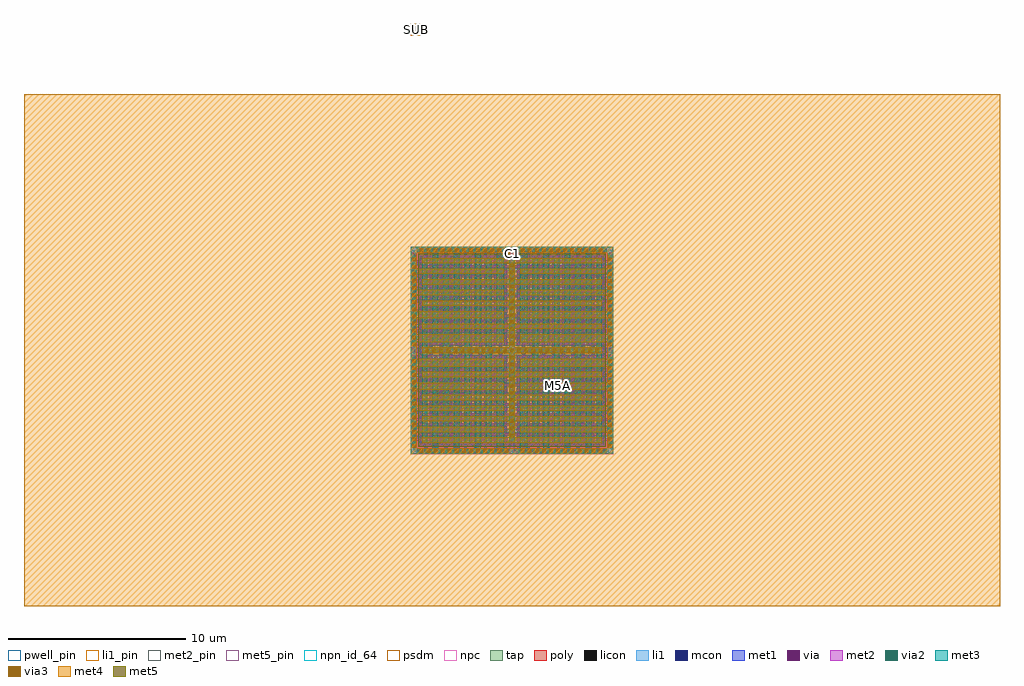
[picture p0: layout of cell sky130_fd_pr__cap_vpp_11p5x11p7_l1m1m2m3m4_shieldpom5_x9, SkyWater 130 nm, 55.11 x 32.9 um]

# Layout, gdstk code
import gdstk
lib = gdstk.Library(unit=1e-6, precision=1e-09)
def R(c, l, rs):  # rectangles x0, y0, x1, y1
    for r in rs: c.add(gdstk.rectangle(r[:2], r[2:], *l))
def A(c, l, x, y, w, h, nx, ny, dx, dy):  # array of equal rectangles
    R(c, l, [(x+i*dx, y+j*dy, x+i*dx+w, y+j*dy+h) for i in range(nx) for j in range(ny)])
def P(c, l, *ps):  # polygons
    for p in ps: c.add(gdstk.Polygon(p, *l))
tap = (65, 44)
poly = (66, 20)
licon = (66, 44)
li1_pin = (67, 16)
li1 = (67, 20)
mcon = (67, 44)
met1 = (68, 20)
via = (68, 44)
met2_pin = (69, 16)
met2 = (69, 20)
via2 = (69, 44)
met3 = (70, 20)
via3 = (70, 44)
met4 = (71, 20)
met5_pin = (72, 16)
met5 = (72, 20)
npn_id_64 = (82, 64)
psdm = (94, 20)
npc = (95, 20)
pwell_pin = (122, 16)

sky130_fd_pr__cap_vpp_11 = lib.new_cell('sky130_fd_pr__cap_vpp_11p5x11p7_l1m1m2m3m4_shieldpom5_x')
R(sky130_fd_pr__cap_vpp_11, poly, [(0,0,5.84,6.005), (5.57,0,11.41,6.005), (0,5.685,5.84,11.69), (5.57,5.685,11.41,11.69)])
A(sky130_fd_pr__cap_vpp_11, licon, 0.485, 0.08, 0.17, 0.17, 15, 2, 0.34, 11.36)
A(sky130_fd_pr__cap_vpp_11, licon, 5.995, 0.08, 0.17, 0.17, 15, 2, 0.34, 11.36)
A(sky130_fd_pr__cap_vpp_11, licon, 0.08, 0.32, 0.17, 0.17, 1, 33, 0, 0.34)
A(sky130_fd_pr__cap_vpp_11, licon, 11.16, 0.32, 0.17, 0.17, 1, 33, 0, 0.34)
A(sky130_fd_pr__cap_vpp_11, li1, 0.5, 0.5, 5.07, 0.19, 1, 9, 0, 0.7)
A(sky130_fd_pr__cap_vpp_11, li1, 5.835, 0.5, 5.07, 0.19, 1, 16, 0, 0.7)
A(sky130_fd_pr__cap_vpp_11, li1, 0.33, 0.86, 5.07, 0.17, 1, 9, 0, 0.7)
A(sky130_fd_pr__cap_vpp_11, li1, 6.01, 0.86, 5.07, 0.17, 1, 15, 0, 0.7)
A(sky130_fd_pr__cap_vpp_11, li1, 0.5, 7.5, 5.07, 0.19, 1, 6, 0, 0.7)
A(sky130_fd_pr__cap_vpp_11, li1, 0.33, 7.86, 5.07, 0.17, 1, 5, 0, 0.7)
R(sky130_fd_pr__cap_vpp_11, li1, [(0,0,0.33,6.005), (0.33,0,5.84,0.33), (5.57,0,11.08,0.33), (11.08,0,11.41,6.005), (5.57,0.5,5.84,5.58), (5.57,5.58,5.84,11.19), (0,5.685,0.33,11.69), (11.08,5.685,11.41,11.69), (0.5,6.8,5.57,6.98), (0.33,7.15,5.4,7.33), (0.33,11.36,5.84,11.69), (5.57,11.36,11.08,11.69)])
A(sky130_fd_pr__cap_vpp_11, mcon, 0.4, 0.08, 0.17, 0.17, 30, 2, 0.36, 11.36)
A(sky130_fd_pr__cap_vpp_11, mcon, 0.08, 0.58, 0.17, 0.17, 1, 14, 0, 0.36)
A(sky130_fd_pr__cap_vpp_11, mcon, 11.16, 0.58, 0.17, 0.17, 1, 14, 0, 0.36)
A(sky130_fd_pr__cap_vpp_11, mcon, 5.62, 0.59, 0.17, 0.17, 1, 14, 0, 0.36)
A(sky130_fd_pr__cap_vpp_11, mcon, 5.62, 6.25, 0.17, 0.17, 1, 14, 0, 0.36)
A(sky130_fd_pr__cap_vpp_11, mcon, 0.08, 6.26, 0.17, 0.17, 1, 14, 0, 0.36)
A(sky130_fd_pr__cap_vpp_11, mcon, 11.16, 6.26, 0.17, 0.17, 1, 14, 0, 0.36)
A(sky130_fd_pr__cap_vpp_11, met1, 0.78, 0.33, 0.14, 5.215, 9, 2, 0.56, 5.815)
A(sky130_fd_pr__cap_vpp_11, met1, 6.01, 0.33, 0.14, 5.215, 9, 2, 0.56, 5.815)
A(sky130_fd_pr__cap_vpp_11, met1, 0.5, 0.47, 0.14, 5.215, 9, 2, 0.56, 5.535)
A(sky130_fd_pr__cap_vpp_11, met1, 6.29, 0.47, 0.14, 5.215, 9, 2, 0.56, 5.535)
R(sky130_fd_pr__cap_vpp_11, met1, [(0,0,5.84,0.33), (5.57,0,11.41,0.33), (0,0.33,0.33,5.55), (11.08,0.33,11.41,5.545), (5.57,0.47,5.84,5.685), (11.08,5.545,11.41,6.145), (0,5.55,0.33,6.145), (0.5,5.685,5.84,6.005), (5.57,5.685,10.91,6.005), (5.57,6.005,5.84,11.22), (0,6.145,0.33,11.36), (11.08,6.145,11.41,11.36), (0,11.36,5.84,11.69), (5.57,11.36,11.41,11.69)])
A(sky130_fd_pr__cap_vpp_11, via, 4.015, 0.09, 0.15, 0.15, 1, 3, 0, 5.68)
A(sky130_fd_pr__cap_vpp_11, via, 7.245, 0.09, 0.15, 0.15, 1, 3, 0, 5.68)
A(sky130_fd_pr__cap_vpp_11, via, 0.09, 0.335, 0.15, 0.15, 1, 16, 0, 0.32)
A(sky130_fd_pr__cap_vpp_11, via, 11.17, 0.335, 0.15, 0.15, 1, 16, 0, 0.32)
A(sky130_fd_pr__cap_vpp_11, via, 5.63, 0.56, 0.15, 0.15, 1, 16, 0, 0.32)
A(sky130_fd_pr__cap_vpp_11, via, 0.815, 5.77, 0.15, 0.15, 11, 1, 0.32, 0)
A(sky130_fd_pr__cap_vpp_11, via, 7.245, 5.77, 0.15, 0.15, 11, 1, 0.32, 0)
A(sky130_fd_pr__cap_vpp_11, via, 5.63, 6.18, 0.15, 0.15, 1, 16, 0, 0.32)
A(sky130_fd_pr__cap_vpp_11, via, 0.09, 6.405, 0.15, 0.15, 1, 16, 0, 0.32)
A(sky130_fd_pr__cap_vpp_11, via, 11.17, 6.405, 0.15, 0.15, 1, 16, 0, 0.32)
R(sky130_fd_pr__cap_vpp_11, via, [(0.495,0.09,0.645,0.24), (0.495,0.09,0.645,0.24), (0.815,0.09,0.965,0.24), (0.815,0.09,0.965,0.24), (1.135,0.09,1.285,0.24), (1.135,0.09,1.285,0.24), (1.455,0.09,1.605,0.24), (1.455,0.09,1.605,0.24), (1.775,0.09,1.925,0.24), (1.775,0.09,1.925,0.24), (2.095,0.09,2.245,0.24), (2.095,0.09,2.245,0.24), (2.415,0.09,2.565,0.24), (2.415,0.09,2.565,0.24), (2.735,0.09,2.885,0.24), (2.735,0.09,2.885,0.24), (3.055,0.09,3.205,0.24), (3.055,0.09,3.205,0.24), (3.375,0.09,3.525,0.24), (3.375,0.09,3.525,0.24), (3.695,0.09,3.845,0.24), (3.695,0.09,3.845,0.24), (4.015,0.09,4.165,0.24), (4.335,0.09,4.485,0.24), (4.335,0.09,4.485,0.24), (4.655,0.09,4.805,0.24), (4.655,0.09,4.805,0.24), (4.975,0.09,5.125,0.24), (4.975,0.09,5.125,0.24), (6.285,0.09,6.435,0.24), (6.285,0.09,6.435,0.24), (6.605,0.09,6.755,0.24), (6.605,0.09,6.755,0.24), (6.925,0.09,7.075,0.24), (6.925,0.09,7.075,0.24), (7.245,0.09,7.395,0.24), (7.565,0.09,7.715,0.24), (7.565,0.09,7.715,0.24), (7.885,0.09,8.035,0.24), (7.885,0.09,8.035,0.24), (8.205,0.09,8.355,0.24), (8.205,0.09,8.355,0.24), (8.525,0.09,8.675,0.24), (8.525,0.09,8.675,0.24), (8.845,0.09,8.995,0.24), (8.845,0.09,8.995,0.24), (9.165,0.09,9.315,0.24), (9.165,0.09,9.315,0.24), (9.485,0.09,9.635,0.24), (9.485,0.09,9.635,0.24), (9.805,0.09,9.955,0.24), (9.805,0.09,9.955,0.24), (10.125,0.09,10.275,0.24), (10.125,0.09,10.275,0.24), (10.445,0.09,10.595,0.24), (10.445,0.09,10.595,0.24), (10.765,0.09,10.915,0.24), (10.765,0.09,10.915,0.24), (4.335,5.77,4.485,5.92), (4.335,5.77,4.485,5.92), (4.655,5.77,4.805,5.92), (4.655,5.77,4.805,5.92), (4.975,5.77,5.125,5.92), (4.975,5.77,5.125,5.92), (5.295,5.77,5.445,5.92), (5.295,5.77,5.445,5.92), (5.965,5.77,6.115,5.92), (5.965,5.77,6.115,5.92), (6.285,5.77,6.435,5.92), (6.285,5.77,6.435,5.92), (6.605,5.77,6.755,5.92), (6.605,5.77,6.755,5.92), (6.925,5.77,7.075,5.92), (6.925,5.77,7.075,5.92), (0.495,11.45,0.645,11.6), (0.495,11.45,0.645,11.6), (0.815,11.45,0.965,11.6), (0.815,11.45,0.965,11.6), (1.135,11.45,1.285,11.6), (1.135,11.45,1.285,11.6), (1.455,11.45,1.605,11.6), (1.455,11.45,1.605,11.6), (1.775,11.45,1.925,11.6), (1.775,11.45,1.925,11.6), (2.095,11.45,2.245,11.6), (2.095,11.45,2.245,11.6), (2.415,11.45,2.565,11.6), (2.415,11.45,2.565,11.6), (2.735,11.45,2.885,11.6), (2.735,11.45,2.885,11.6), (3.055,11.45,3.205,11.6), (3.055,11.45,3.205,11.6), (3.375,11.45,3.525,11.6), (3.375,11.45,3.525,11.6), (3.695,11.45,3.845,11.6), (3.695,11.45,3.845,11.6), (4.015,11.45,4.165,11.6), (4.335,11.45,4.485,11.6), (4.335,11.45,4.485,11.6), (4.655,11.45,4.805,11.6), (4.655,11.45,4.805,11.6), (4.975,11.45,5.125,11.6), (4.975,11.45,5.125,11.6), (6.285,11.45,6.435,11.6), (6.285,11.45,6.435,11.6), (6.605,11.45,6.755,11.6), (6.605,11.45,6.755,11.6), (6.925,11.45,7.075,11.6), (6.925,11.45,7.075,11.6), (7.245,11.45,7.395,11.6), (7.565,11.45,7.715,11.6), (7.565,11.45,7.715,11.6), (7.885,11.45,8.035,11.6), (7.885,11.45,8.035,11.6), (8.205,11.45,8.355,11.6), (8.205,11.45,8.355,11.6), (8.525,11.45,8.675,11.6), (8.525,11.45,8.675,11.6), (8.845,11.45,8.995,11.6), (8.845,11.45,8.995,11.6), (9.165,11.45,9.315,11.6), (9.165,11.45,9.315,11.6), (9.485,11.45,9.635,11.6), (9.485,11.45,9.635,11.6), (9.805,11.45,9.955,11.6), (9.805,11.45,9.955,11.6), (10.125,11.45,10.275,11.6), (10.125,11.45,10.275,11.6), (10.445,11.45,10.595,11.6), (10.445,11.45,10.595,11.6), (10.765,11.45,10.915,11.6), (10.765,11.45,10.915,11.6)])
R(sky130_fd_pr__cap_vpp_11, met2_pin, [(5.605,11.31,5.815,11.49), (5.095,11.37,5.245,11.51)])
P(sky130_fd_pr__cap_vpp_11, met2, [(11.41,5.57),(11.08,5.57),(11.08,5.565),(5.985,5.565),(5.985,5.23),(11.08,5.23),(11.08,4.81),(5.985,4.81),(5.985,4.67),(11.08,4.67),(11.08,4.25),(5.985,4.25),(5.985,4.11),(11.08,4.11),(11.08,3.69),(5.985,3.69),(5.985,3.55),(11.08,3.55),(11.08,3.13),(5.985,3.13),(5.985,2.99),(11.08,2.99),(11.08,2.57),(5.985,2.57),(5.985,2.43),(11.08,2.43),(11.08,2.01),(5.985,2.01),(5.985,1.87),(11.08,1.87),(11.08,1.45),(5.985,1.45),(5.985,1.31),(11.08,1.31),(11.08,0.89),(5.985,0.89),(5.985,0.75),(11.08,0.75),(11.08,0.33),(5.98,0.33),(5.98,0),(11.41,0)],
  [(11.41,5.98),(11.04,5.98),(11.04,5.985),(5.845,5.985),(5.845,6.6),(10.94,6.6),(10.94,6.74),(5.845,6.74),(5.845,7.16),(10.94,7.16),(10.94,7.3),(5.845,7.3),(5.845,7.72),(10.94,7.72),(10.94,7.86),(5.845,7.86),(5.845,8.28),(10.94,8.28),(10.94,8.42),(5.845,8.42),(5.845,8.84),(10.94,8.84),(10.94,8.98),(5.845,8.98),(5.845,9.4),(10.94,9.4),(10.94,9.54),(5.845,9.54),(5.845,9.96),(10.94,9.96),(10.94,10.1),(5.845,10.1),(5.845,10.52),(10.94,10.52),(10.94,10.66),(5.845,10.66),(5.845,11.08),(10.94,11.08),(10.94,11.22),(5.84,11.22),(5.84,11.69),(5.57,11.69),(5.57,11.22),(0.47,11.22),(0.47,11.08),(5.565,11.08),(5.565,10.66),(0.47,10.66),(0.47,10.52),(5.565,10.52),(5.565,10.1),(0.47,10.1),(0.47,9.96),(5.565,9.96),(5.565,9.54),(0.47,9.54),(0.47,9.4),(5.565,9.4),(5.565,8.98),(0.47,8.98),(0.47,8.84),(5.565,8.84),(5.565,8.42),(0.47,8.42),(0.47,8.28),(5.565,8.28),(5.565,7.86),(0.47,7.86),(0.47,7.72),(5.565,7.72),(5.565,7.3),(0.47,7.3),(0.47,7.16),(5.565,7.16),(5.565,6.74),(0.47,6.74),(0.47,6.6),(5.565,6.6),(5.565,5.985),(0.37,5.985),(0.37,5.98),(0,5.98),(0,5.71),(0.37,5.71),(0.37,5.705),(5.565,5.705),(5.565,5.09),(0.47,5.09),(0.47,4.95),(5.565,4.95),(5.565,4.53),(0.47,4.53),(0.47,4.39),(5.565,4.39),(5.565,3.97),(0.47,3.97),(0.47,3.83),(5.565,3.83),(5.565,3.41),(0.47,3.41),(0.47,3.27),(5.565,3.27),(5.565,2.85),(0.47,2.85),(0.47,2.71),(5.565,2.71),(5.565,2.29),(0.47,2.29),(0.47,2.15),(5.565,2.15),(5.565,1.73),(0.47,1.73),(0.47,1.59),(5.565,1.59),(5.565,1.17),(0.47,1.17),(0.47,1.03),(5.565,1.03),(5.565,0.61),(0.47,0.61),(0.47,0.47),(5.57,0.47),(5.57,0),(5.84,0),(5.84,0.47),(10.94,0.47),(10.94,0.61),(5.845,0.61),(5.845,1.03),(10.94,1.03),(10.94,1.17),(5.845,1.17),(5.845,1.59),(10.94,1.59),(10.94,1.73),(5.845,1.73),(5.845,2.15),(10.94,2.15),(10.94,2.29),(5.845,2.29),(5.845,2.71),(10.94,2.71),(10.94,2.85),(5.845,2.85),(5.845,3.27),(10.94,3.27),(10.94,3.41),(5.845,3.41),(5.845,3.83),(10.94,3.83),(10.94,3.97),(5.845,3.97),(5.845,4.39),(10.94,4.39),(10.94,4.53),(5.845,4.53),(5.845,4.95),(10.94,4.95),(10.94,5.09),(5.845,5.09),(5.845,5.705),(11.04,5.705),(11.04,5.71),(11.41,5.71)],
  [(11.41,11.69),(5.98,11.69),(5.98,11.36),(11.08,11.36),(11.08,10.94),(5.985,10.94),(5.985,10.8),(11.08,10.8),(11.08,10.38),(5.985,10.38),(5.985,10.24),(11.08,10.24),(11.08,9.82),(5.985,9.82),(5.985,9.68),(11.08,9.68),(11.08,9.26),(5.985,9.26),(5.985,9.12),(11.08,9.12),(11.08,8.7),(5.985,8.7),(5.985,8.56),(11.08,8.56),(11.08,8.14),(5.985,8.14),(5.985,8),(11.08,8),(11.08,7.58),(5.985,7.58),(5.985,7.44),(11.08,7.44),(11.08,7.02),(5.985,7.02),(5.985,6.88),(11.08,6.88),(11.08,6.46),(5.985,6.46),(5.985,6.125),(11.08,6.125),(11.08,6.12),(11.41,6.12)],
  [(5.43,0.33),(0.33,0.33),(0.33,0.75),(5.425,0.75),(5.425,0.89),(0.33,0.89),(0.33,1.31),(5.425,1.31),(5.425,1.45),(0.33,1.45),(0.33,1.87),(5.425,1.87),(5.425,2.01),(0.33,2.01),(0.33,2.43),(5.425,2.43),(5.425,2.57),(0.33,2.57),(0.33,2.99),(5.425,2.99),(5.425,3.13),(0.33,3.13),(0.33,3.55),(5.425,3.55),(5.425,3.69),(0.33,3.69),(0.33,4.11),(5.425,4.11),(5.425,4.25),(0.33,4.25),(0.33,4.67),(5.425,4.67),(5.425,4.81),(0.33,4.81),(0.33,5.23),(5.425,5.23),(5.425,5.565),(0.33,5.565),(0.33,5.57),(0,5.57),(0,0),(5.43,0)],
  [(5.43,11.69),(0,11.69),(0,6.12),(0.33,6.12),(0.33,6.125),(5.425,6.125),(5.425,6.46),(0.33,6.46),(0.33,6.88),(5.425,6.88),(5.425,7.02),(0.33,7.02),(0.33,7.44),(5.425,7.44),(5.425,7.58),(0.33,7.58),(0.33,8),(5.425,8),(5.425,8.14),(0.33,8.14),(0.33,8.56),(5.425,8.56),(5.425,8.7),(0.33,8.7),(0.33,9.12),(5.425,9.12),(5.425,9.26),(0.33,9.26),(0.33,9.68),(5.425,9.68),(5.425,9.82),(0.33,9.82),(0.33,10.24),(5.425,10.24),(5.425,10.38),(0.33,10.38),(0.33,10.8),(5.425,10.8),(5.425,10.94),(0.33,10.94),(0.33,11.36),(5.43,11.36)])
A(sky130_fd_pr__cap_vpp_11, via2, 0.345, 0.065, 0.2, 0.2, 13, 2, 0.4, 11.36)
A(sky130_fd_pr__cap_vpp_11, via2, 6.065, 0.065, 0.2, 0.2, 13, 2, 0.4, 11.36)
A(sky130_fd_pr__cap_vpp_11, via2, 0.065, 0.485, 0.2, 0.2, 1, 13, 0, 0.4)
A(sky130_fd_pr__cap_vpp_11, via2, 11.145, 0.485, 0.2, 0.2, 1, 13, 0, 0.4)
A(sky130_fd_pr__cap_vpp_11, via2, 5.605, 0.945, 0.2, 0.2, 1, 13, 0, 0.4)
A(sky130_fd_pr__cap_vpp_11, via2, 0.805, 5.745, 0.2, 0.2, 13, 1, 0.4, 0)
A(sky130_fd_pr__cap_vpp_11, via2, 5.605, 5.745, 0.2, 0.2, 1, 13, 0, 0.4)
A(sky130_fd_pr__cap_vpp_11, via2, 5.605, 5.745, 0.2, 0.2, 13, 1, 0.4, 0)
A(sky130_fd_pr__cap_vpp_11, via2, 0.065, 6.205, 0.2, 0.2, 1, 13, 0, 0.4)
A(sky130_fd_pr__cap_vpp_11, via2, 11.145, 6.205, 0.2, 0.2, 1, 13, 0, 0.4)
P(sky130_fd_pr__cap_vpp_11, met3, [(11.41,11.69),(11.08,11.69),(11.08,0.33),(10.18,0.33),(10.18,5.38),(9.88,5.38),(9.88,0.33),(8.98,0.33),(8.98,5.38),(8.68,5.38),(8.68,0.33),(7.78,0.33),(7.78,5.38),(7.48,5.38),(7.48,0.33),(6.58,0.33),(6.58,5.38),(6.17,5.38),(6.17,0.33),(5.24,0.33),(5.24,5.38),(4.83,5.38),(4.83,0.33),(3.93,0.33),(3.93,5.38),(3.63,5.38),(3.63,0.33),(2.73,0.33),(2.73,5.38),(2.43,5.38),(2.43,0.33),(1.53,0.33),(1.53,5.38),(1.23,5.38),(1.23,0.33),(0.33,0.33),(0.33,11.36),(1.23,11.36),(1.23,6.31),(1.53,6.31),(1.53,11.36),(2.43,11.36),(2.43,6.31),(2.73,6.31),(2.73,11.36),(3.63,11.36),(3.63,6.31),(3.93,6.31),(3.93,11.36),(4.83,11.36),(4.83,6.31),(5.24,6.31),(5.24,11.36),(6.17,11.36),(6.17,6.31),(6.58,6.31),(6.58,11.36),(7.48,11.36),(7.48,6.31),(7.78,6.31),(7.78,11.36),(8.68,11.36),(8.68,6.31),(8.98,6.31),(8.98,11.36),(9.88,11.36),(9.88,6.31),(10.18,6.31),(10.18,11.36),(11.08,11.36),(11.08,11.69),(0,11.69),(0,0),(11.41,0)],
  [(10.78,11.06),(10.48,11.06),(10.48,6.01),(9.58,6.01),(9.58,11.06),(9.28,11.06),(9.28,6.01),(8.38,6.01),(8.38,11.06),(8.08,11.06),(8.08,6.01),(7.18,6.01),(7.18,11.06),(6.88,11.06),(6.88,6.01),(5.87,6.01),(5.87,11.06),(5.54,11.06),(5.54,6.01),(4.53,6.01),(4.53,11.06),(4.23,11.06),(4.23,6.01),(3.33,6.01),(3.33,11.06),(3.03,11.06),(3.03,6.01),(2.13,6.01),(2.13,11.06),(1.83,11.06),(1.83,6.01),(0.93,6.01),(0.93,11.06),(0.63,11.06),(0.63,0.63),(0.93,0.63),(0.93,5.68),(1.83,5.68),(1.83,0.63),(2.13,0.63),(2.13,5.68),(3.03,5.68),(3.03,0.63),(3.33,0.63),(3.33,5.68),(4.23,5.68),(4.23,0.63),(4.53,0.63),(4.53,5.68),(5.54,5.68),(5.54,0.63),(5.87,0.63),(5.87,5.68),(6.88,5.68),(6.88,0.63),(7.18,0.63),(7.18,5.68),(8.08,5.68),(8.08,0.63),(8.38,0.63),(8.38,5.68),(9.28,5.68),(9.28,0.63),(9.58,0.63),(9.58,5.68),(10.48,5.68),(10.48,0.63),(10.78,0.63)])
A(sky130_fd_pr__cap_vpp_11, via3, 0.485, 0.065, 0.2, 0.2, 13, 2, 0.4, 11.36)
A(sky130_fd_pr__cap_vpp_11, via3, 6.205, 0.065, 0.2, 0.2, 12, 2, 0.4, 11.36)
A(sky130_fd_pr__cap_vpp_11, via3, 0.065, 0.345, 0.2, 0.2, 1, 13, 0, 0.4)
A(sky130_fd_pr__cap_vpp_11, via3, 11.145, 0.345, 0.2, 0.2, 1, 13, 0, 0.4)
A(sky130_fd_pr__cap_vpp_11, via3, 5.605, 0.945, 0.2, 0.2, 1, 13, 0, 0.4)
A(sky130_fd_pr__cap_vpp_11, via3, 0.805, 5.745, 0.2, 0.2, 13, 1, 0.4, 0)
A(sky130_fd_pr__cap_vpp_11, via3, 5.605, 5.745, 0.2, 0.2, 1, 13, 0, 0.4)
A(sky130_fd_pr__cap_vpp_11, via3, 5.605, 5.745, 0.2, 0.2, 13, 1, 0.4, 0)
A(sky130_fd_pr__cap_vpp_11, via3, 0.065, 6.065, 0.2, 0.2, 1, 13, 0, 0.4)
A(sky130_fd_pr__cap_vpp_11, via3, 11.145, 6.065, 0.2, 0.2, 1, 13, 0, 0.4)
P(sky130_fd_pr__cap_vpp_11, met4, [(0.63,11.06),(0.63,10.76),(5.54,10.76),(5.54,9.86),(0.63,9.86),(0.63,9.56),(5.54,9.56),(5.54,8.66),(0.63,8.66),(0.63,8.36),(5.54,8.36),(5.54,7.36),(0.63,7.36),(0.63,7.06),(5.54,7.06),(5.54,6.01),(0.63,6.01),(0.63,5.68),(5.54,5.68),(5.54,4.63),(0.63,4.63),(0.63,4.33),(5.54,4.33),(5.54,3.33),(0.63,3.33),(0.63,3.03),(5.54,3.03),(5.54,2.13),(0.63,2.13),(0.63,1.83),(5.54,1.83),(5.54,0.93),(0.63,0.93),(0.63,0.63),(10.78,0.63),(10.78,0.93),(5.87,0.93),(5.87,1.83),(10.78,1.83),(10.78,2.13),(5.87,2.13),(5.87,3.03),(10.78,3.03),(10.78,3.33),(5.87,3.33),(5.87,4.33),(10.78,4.33),(10.78,4.63),(5.87,4.63),(5.87,5.68),(10.78,5.68),(10.78,6.01),(5.87,6.01),(5.87,7.06),(10.78,7.06),(10.78,7.36),(5.87,7.36),(5.87,8.36),(10.78,8.36),(10.78,8.66),(5.87,8.66),(5.87,9.56),(10.78,9.56),(10.78,9.86),(5.87,9.86),(5.87,10.76),(10.78,10.76),(10.78,11.06)],
  [(0,11.69),(0,11.36),(11.08,11.36),(11.08,10.46),(6.17,10.46),(6.17,10.16),(11.08,10.16),(11.08,9.26),(6.17,9.26),(6.17,8.96),(11.08,8.96),(11.08,8.06),(6.17,8.06),(6.17,7.66),(11.08,7.66),(11.08,6.76),(6.17,6.76),(6.17,6.31),(11.08,6.31),(11.08,5.38),(6.17,5.38),(6.17,4.93),(11.08,4.93),(11.08,4.03),(6.17,4.03),(6.17,3.63),(11.08,3.63),(11.08,2.73),(6.17,2.73),(6.17,2.43),(11.08,2.43),(11.08,1.53),(6.17,1.53),(6.17,1.23),(11.08,1.23),(11.08,0.33),(0.33,0.33),(0.33,1.23),(5.24,1.23),(5.24,1.53),(0.33,1.53),(0.33,2.43),(5.24,2.43),(5.24,2.73),(0.33,2.73),(0.33,3.63),(5.24,3.63),(5.24,4.03),(0.33,4.03),(0.33,4.93),(5.24,4.93),(5.24,5.38),(0.33,5.38),(0.33,6.31),(5.24,6.31),(5.24,6.76),(0.33,6.76),(0.33,7.66),(5.24,7.66),(5.24,8.06),(0.33,8.06),(0.33,8.96),(5.24,8.96),(5.24,9.26),(0.33,9.26),(0.33,10.16),(5.24,10.16),(5.24,10.46),(0.33,10.46),(0.33,11.36),(0,11.36),(0,0),(11.41,0),(11.41,11.69)])
R(sky130_fd_pr__cap_vpp_11, met5_pin, [(8.145,2.68,8.58,3.155), (8.145,2.68,8.58,3.155)])
R(sky130_fd_pr__cap_vpp_11, met5, [(0.4,0.4,11.01,11.29)])
R(sky130_fd_pr__cap_vpp_11, npn_id_64, [(0.17,0.17,11.24,11.52)])
R(sky130_fd_pr__cap_vpp_11, npc, [(-0.02,-0.02,11.43,0.35), (-0.02,-0.02,0.35,11.71), (11.06,-0.02,11.43,11.71), (-0.02,11.34,11.43,11.71)])
R(sky130_fd_pr__cap_vpp_11, pwell_pin, [(5.88,6.445,5.985,6.69)])
sky130_fd_pr__cap_vpp_11.add(gdstk.Label('C0', (5.17,11.44), layer=69, texttype=5))
sky130_fd_pr__cap_vpp_11.add(gdstk.Label('C1', (5.71,11.4), layer=69, texttype=5))
sky130_fd_pr__cap_vpp_11.add(gdstk.Label('MET5', (8.365,2.92), layer=72, texttype=5))
sky130_fd_pr__cap_vpp_11.add(gdstk.Label('MET5', (8.365,2.92), layer=72, texttype=5))
sky130_fd_pr__cap_vpp_11.add(gdstk.Label('SUB', (5.935,6.57), layer=64, texttype=59))

c_sky130_fd_pr__cap_vpp_11 = lib.new_cell('sky130_fd_pr__cap_vpp_11p5x11p7_l1m1m2m3m4_shieldpom5_x9')
R(c_sky130_fd_pr__cap_vpp_11, tap, [(0.13,23.75,0.54,24.16)])
R(c_sky130_fd_pr__cap_vpp_11, licon, [(0.25,23.87,0.42,24.04)])
R(c_sky130_fd_pr__cap_vpp_11, li1_pin, [(0.29,23.9,0.37,24.04)])
R(c_sky130_fd_pr__cap_vpp_11, li1, [(0.25,23.79,0.42,24.12)])
R(c_sky130_fd_pr__cap_vpp_11, met2_pin, [(5.65,11.235,5.77,11.375), (4.83,11.475,4.985,11.62)])
R(c_sky130_fd_pr__cap_vpp_11, met4, [(-21.85,-8.605,11.41,0), (11.41,-8.605,33.26,20.295), (-21.85,0,0,11.69), (-21.85,11.69,11.41,20.295)])
R(c_sky130_fd_pr__cap_vpp_11, met5_pin, [(8.075,3.64,8.53,4.095)])
R(c_sky130_fd_pr__cap_vpp_11, psdm, [(0,23.62,0.67,24.29)])
r = gdstk.Reference(sky130_fd_pr__cap_vpp_11, (0,0)); r.repetition = gdstk.Repetition(1, 1, v1=(11.08,0), v2=(0,11.08)); c_sky130_fd_pr__cap_vpp_11.add(r)
c_sky130_fd_pr__cap_vpp_11.add(gdstk.Label('M5A', (8.3,3.865), layer=72, texttype=5))
c_sky130_fd_pr__cap_vpp_11.add(gdstk.Label('C1', (5.71,11.305), layer=69, texttype=5))
c_sky130_fd_pr__cap_vpp_11.add(gdstk.Label('C0', (4.91,11.55), layer=69, texttype=5))
c_sky130_fd_pr__cap_vpp_11.add(gdstk.Label('SUB', (0.33,23.97), layer=67, texttype=5))

lib.write_gds('sky130_fd_pr__cap_vpp_11p5x11p7_l1m1m2m3m4_shieldpom5_x9.gds')
